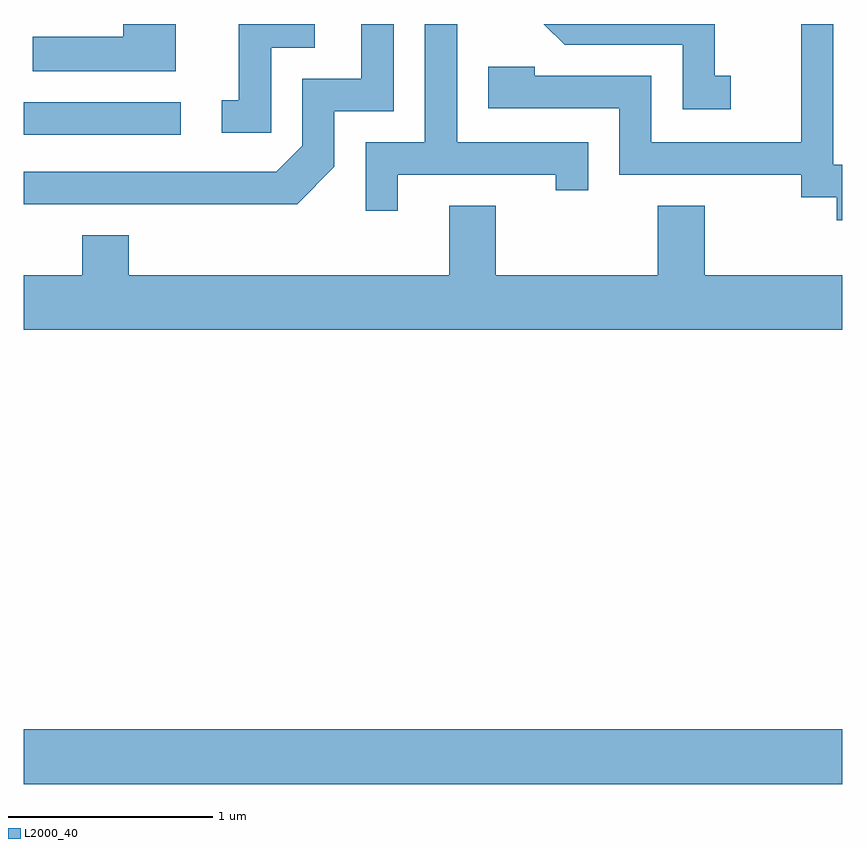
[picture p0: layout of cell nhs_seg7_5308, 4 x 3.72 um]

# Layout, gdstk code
import gdstk
lib = gdstk.Library(unit=1e-6, precision=1e-09)
def R(c, l, rs):  # rectangles x0, y0, x1, y1
    for r in rs: c.add(gdstk.rectangle(r[:2], r[2:], *l))
def P(c, l, *ps):  # polygons
    for p in ps: c.add(gdstk.Polygon(p, *l))
L2000_40 = (2000, 40)

nhs_seg7_5308 = lib.new_cell('nhs_seg7_5308')
R(nhs_seg7_5308, L2000_40, [(347.611,1716.536,351.611,1716.804), (347.611,1719.711,348.378,1719.869)])
P(nhs_seg7_5308, L2000_40, [(351.611,1719.564),(351.569,1719.564),(351.569,1720.252),(351.411,1720.252),(351.411,1719.674),(350.679,1719.674),(350.679,1719.999),(350.109,1719.999),(350.109,1720.044),(349.881,1720.044),(349.881,1719.841),(350.521,1719.841),(350.521,1719.516),(351.411,1719.516),(351.411,1719.406),(351.586,1719.406),(351.586,1719.293),(351.611,1719.293)],
  [(349.129,1719.554),(349.129,1719.826),(349.419,1719.826),(349.419,1720.252),(349.261,1720.252),(349.261,1719.984),(348.971,1719.984),(348.971,1719.657),(348.844,1719.529),(347.611,1719.529),(347.611,1719.371),(348.947,1719.371)],
  [(348.819,1720.136),(349.034,1720.136),(349.034,1720.252),(348.661,1720.252),(348.661,1719.879),(348.578,1719.879),(348.578,1719.721),(348.819,1719.721)],
  [(348.354,1720.252),(348.096,1720.252),(348.096,1720.189),(347.653,1720.189),(347.653,1720.021),(348.354,1720.021)],
  [(349.439,1719.516),(350.211,1719.516),(350.211,1719.438),(350.369,1719.438),(350.369,1719.674),(349.729,1719.674),(349.729,1720.252),(349.571,1720.252),(349.571,1719.674),(349.281,1719.674),(349.281,1719.338),(349.439,1719.338)],
  [(351.068,1719.999),(350.989,1719.999),(350.989,1720.252),(350.153,1720.252),(350.254,1720.151),(350.831,1720.151),(350.831,1719.836),(351.068,1719.836)],
  [(351.611,1719.024),(350.939,1719.024),(350.939,1719.364),(350.711,1719.364),(350.711,1719.024),(349.919,1719.024),(349.919,1719.364),(349.691,1719.364),(349.691,1719.024),(348.124,1719.024),(348.124,1719.219),(347.896,1719.219),(347.896,1719.024),(347.611,1719.024),(347.611,1718.756),(351.611,1718.756)])

lib.write_gds('nhs_seg7_5308.gds')
